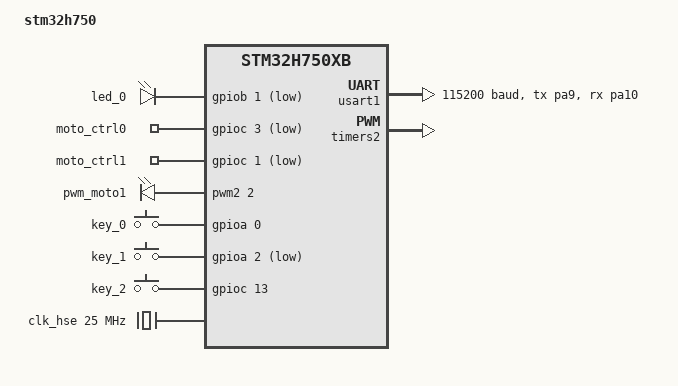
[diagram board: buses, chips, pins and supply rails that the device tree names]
/dts-v1/;
#include <st/h7/stm32h750Xb.dtsi>
#include <st/h7/stm32h750vbtx-pinctrl.dtsi>

/ {
	model = "stm32h750";
	compatible = "O2C14,H750";

	chosen {
		zephyr,console = &usart1;
		zephyr,shell-uart = &usart1;
		zephyr,flash = &flash0;
		zephyr,sram = &sram0;
	};

	leds: leds {
		compatible = "gpio-leds";
		led_0: led_0 {
			gpios = <&gpiob 1 GPIO_ACTIVE_LOW>;
		};
		moto_ctrl0: moto_ctrl0 {
			gpios = <&gpioc 3 GPIO_ACTIVE_LOW>;
		};
		moto_ctrl1: moto_ctrl1 {
			gpios = <&gpioc 1 GPIO_ACTIVE_LOW>;
		};
	};

	pwm_motos: pwm_motos {
		compatible = "pwm-leds";
		pwm_moto1: pwm_moto1{
			pwms = <&pwm2 2 PWM_MSEC(20) PWM_POLARITY_NORMAL>;
		};
	};
	
	gpio_keys {
		compatible = "gpio-keys";
		key_0: key_0 {
			gpios = <&gpioa 0 GPIO_ACTIVE_HIGH>;
		};
		key_1: key_1 {
			gpios = <&gpioa 2 (GPIO_ACTIVE_LOW|GPIO_PULL_UP)>;
		};
		key_2: key_2 {
			gpios = <&gpioc 13 GPIO_ACTIVE_HIGH>;
		};
	};

	aliases {
		led0 = &led_0;
		sw0 = &key_0;
		sw1 = &key_1;
		sw2 = &key_2;
		moto-in3 = &moto_ctrl0;
		moto-in4 = &moto_ctrl1;
		pwm-moto = &pwm_moto1;
	};
};

&clk_hse {
	clock-frequency = <DT_FREQ_M(25)>;
	status = "okay";
};

&clk_lse {
	status = "okay";
};

&pll {
	div-m = <5>;
	mul-n = <192>;
	div-p = <2>;
	div-q = <4>;
	div-r = <4>;
	clocks = <&clk_hse>;
	status = "okay";
};

&pll3 {
	div-m = <5>;
	mul-n = <192>;
	div-p = <2>;
	div-q = <20>;
	div-r = <99>;
	clocks = <&clk_hse>;
	status = "okay";
};

&rcc {
	clocks = <&pll>;
	clock-frequency = <DT_FREQ_M(480)>;
	d1cpre = <1>;
	hpre = <2>;
	d1ppre = <2>;
	d2ppre1 = <2>;
	d2ppre2 = <2>;
	d3ppre = <2>;
};

&usart1 {
	dma-names = "tx", "rx";
	pinctrl-0 = <&usart1_tx_pa9 &usart1_rx_pa10>;
	pinctrl-names = "default";
	current-speed = <115200>;
	status = "okay";
};
&timers2 {
	st,prescaler = <10000>;
	status = "okay";

	pwm2: pwm {
		status = "okay";
		pinctrl-0 = <&tim2_ch2_pa1>;
		pinctrl-names = "default";
	};
};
